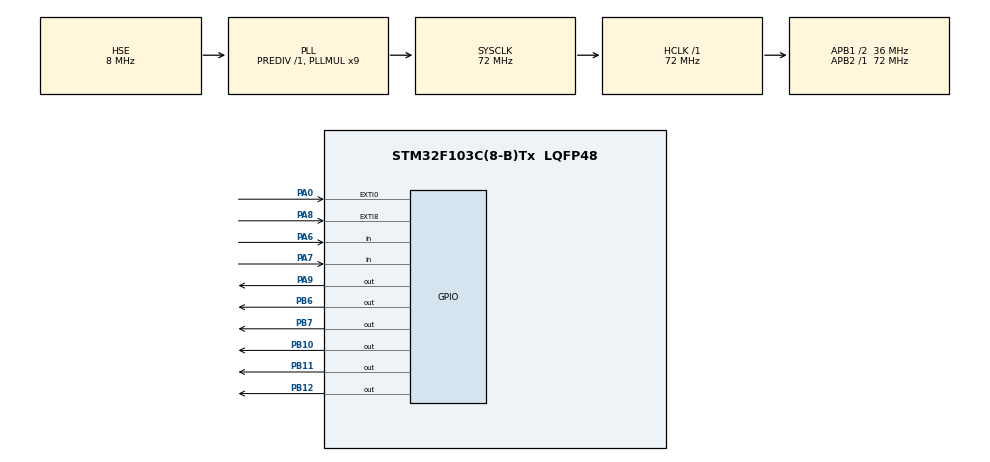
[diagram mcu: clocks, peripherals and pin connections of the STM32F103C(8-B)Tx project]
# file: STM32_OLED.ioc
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Mcu.Family=STM32F1
Mcu.Name=STM32F103C(8-B)Tx
Mcu.Package=LQFP48
NVIC.EXTI0_IRQn=true\:5\:0\:true\:false\:true\:true\:true\:true
NVIC.PriorityGroup=NVIC_PRIORITYGROUP_4
PA0-WKUP.GPIO_ModeDefaultEXTI=GPIO_MODE_IT_FALLING
PA0-WKUP.Signal=GPXTI0
PA13.Mode=Serial_Wire
PA13.Signal=SYS_JTMS-SWDIO
PA14.Mode=Serial_Wire
PA14.Signal=SYS_JTCK-SWCLK
PA6.Signal=GPIO_Input
PA7.Signal=GPIO_Input
PA8.GPIO_ModeDefaultEXTI=GPIO_MODE_IT_RISING
PA8.Signal=GPXTI8
PA9.Signal=GPIO_Output
PB10.Signal=GPIO_Output
PB11.Signal=GPIO_Output
PB12.Signal=GPIO_Output
PB6.Signal=GPIO_Output
PB7.Signal=GPIO_Output
PC14-OSC32_IN.Mode=LSE-External-Oscillator
PC14-OSC32_IN.Signal=RCC_OSC32_IN
PC15-OSC32_OUT.Mode=LSE-External-Oscillator
PC15-OSC32_OUT.Signal=RCC_OSC32_OUT
PD0-OSC_IN.Mode=HSE-External-Oscillator
PD0-OSC_IN.Signal=RCC_OSC_IN
PD1-OSC_OUT.Mode=HSE-External-Oscillator
PD1-OSC_OUT.Signal=RCC_OSC_OUT
ProjectManager.HeapSize=0x200
ProjectManager.StackSize=0x400
ProjectManager.TargetToolchain=MDK-ARM V5.32
RCC.AHBFreq_Value=72000000
RCC.APB1CLKDivider=RCC_HCLK_DIV2
RCC.APB1Freq_Value=36000000
RCC.APB1TimFreq_Value=72000000
RCC.APB2Freq_Value=72000000
RCC.APB2TimFreq_Value=72000000
RCC.HCLKFreq_Value=72000000
RCC.PLLMUL=RCC_PLL_MUL9
RCC.PLLSourceVirtual=RCC_PLLSOURCE_HSE
RCC.RTCClockSelection=RCC_RTCCLKSOURCE_LSE
RCC.SYSCLKFreq_VALUE=72000000
RCC.SYSCLKSource=RCC_SYSCLKSOURCE_PLLCLK
RCC.USBFreq_Value=72000000
RTC.Date=4
RTC.Hours=21
RTC.Minutes=40
RTC.Month=RTC_MONTH_JULY
RTC.WeekDay=RTC_WEEKDAY_TUESDAY
RTC.Year=23
VP_RTC_VS_RTC_Activate.Mode=RTC_Enabled
VP_RTC_VS_RTC_Calendar.Mode=RTC_Calendar
board=custom

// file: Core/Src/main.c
/* USER CODE BEGIN Header */
/**
  ******************************************************************************
  * @file           : main.c
  * @brief          : Main program body
  ******************************************************************************
  * @attention
  *
  * Copyright (c) 2023 STMicroelectronics.
  * All rights reserved.
  *
  * This software is licensed under terms that can be found in the LICENSE file
  * in the root directory of this software component.
  * If no LICENSE file comes with this software, it is provided AS-IS.
  *
  ******************************************************************************
  */
/* USER CODE END Header */
#include "main.h"
#include "rtc.h"
#include "gpio.h"

/* USER CODE BEGIN Includes */
#include "OLED.h"
#include "user_oled.h"
#include "tsl2561.h"
/* USER CODE END Includes */

void SystemClock_Config(void);
/* USER CODE BEGIN PFP */

int pa0,pa6,pa7,pa8;
/* USER CODE END PFP */

int main(void)
{

  /* MCU Configuration--------------------------------------------------------*/

  /* Reset of all peripherals, Initializes the Flash interface and the Systick. */
  HAL_Init();

  /* Configure the system clock */
  SystemClock_Config();

  /* USER CODE BEGIN SysInit */
	HAL_NVIC_SetPriority(SysTick_IRQn,0,0);
  /* USER CODE END SysInit */

  /* Initialize all configured peripherals */
  MX_GPIO_Init();
  MX_RTC_Init();
  /* USER CODE BEGIN 2 */
	TSL2561_Init(TIMING_402MS | TIMING_GAIN_16X);//此处的积分时间和增益倍数选择不同测出来的数值会有不同***
	OLED_Init();              //OLED初始化
//	TSL2561_Init();
	User_huizhang_Show();
	HAL_Delay(300);
	OLED_ClearPic();
	User_Home();
	HAL_Delay(500);
	User_Data_Show();
  /* USER CODE END 2 */

  /* Infinite loop */
  /* USER CODE BEGIN WHILE */
  while (1)
  {
		pa6=HAL_GPIO_ReadPin(GPIOA,GPIO_PIN_6);
		pa7=HAL_GPIO_ReadPin(GPIOA,GPIO_PIN_7);
		pa8=HAL_GPIO_ReadPin(GPIOA,GPIO_PIN_8);
		pa0=HAL_GPIO_ReadPin(GPIOA,GPIO_PIN_0);
    /* USER CODE END WHILE */

  }
}

void SystemClock_Config(void)
{
  RCC_OscInitTypeDef RCC_OscInitStruct = {0};
  RCC_ClkInitTypeDef RCC_ClkInitStruct = {0};
  RCC_PeriphCLKInitTypeDef PeriphClkInit = {0};

  /** Initializes the RCC Oscillators according to the specified parameters
  * in the RCC_OscInitTypeDef structure.
  */
  RCC_OscInitStruct.OscillatorType = RCC_OSCILLATORTYPE_HSE|RCC_OSCILLATORTYPE_LSE;
  RCC_OscInitStruct.HSEState = RCC_HSE_ON;
  RCC_OscInitStruct.HSEPredivValue = RCC_HSE_PREDIV_DIV1;
  RCC_OscInitStruct.LSEState = RCC_LSE_ON;
  RCC_OscInitStruct.HSIState = RCC_HSI_ON;
  RCC_OscInitStruct.PLL.PLLState = RCC_PLL_ON;
  RCC_OscInitStruct.PLL.PLLSource = RCC_PLLSOURCE_HSE;
  RCC_OscInitStruct.PLL.PLLMUL = RCC_PLL_MUL9;
  if (HAL_RCC_OscConfig(&RCC_OscInitStruct) != HAL_OK)
  {
    Error_Handler();
  }

  /** Initializes the CPU, AHB and APB buses clocks
  */
  RCC_ClkInitStruct.ClockType = RCC_CLOCKTYPE_HCLK|RCC_CLOCKTYPE_SYSCLK
                              |RCC_CLOCKTYPE_PCLK1|RCC_CLOCKTYPE_PCLK2;
  RCC_ClkInitStruct.SYSCLKSource = RCC_SYSCLKSOURCE_PLLCLK;
  RCC_ClkInitStruct.AHBCLKDivider = RCC_SYSCLK_DIV1;
  RCC_ClkInitStruct.APB1CLKDivider = RCC_HCLK_DIV2;
  RCC_ClkInitStruct.APB2CLKDivider = RCC_HCLK_DIV1;

  if (HAL_RCC_ClockConfig(&RCC_ClkInitStruct, FLASH_LATENCY_2) != HAL_OK)
  {
    Error_Handler();
  }
  PeriphClkInit.PeriphClockSelection = RCC_PERIPHCLK_RTC;
  PeriphClkInit.RTCClockSelection = RCC_RTCCLKSOURCE_LSE;
  if (HAL_RCCEx_PeriphCLKConfig(&PeriphClkInit) != HAL_OK)
  {
    Error_Handler();
  }
}

void Error_Handler(void)
{
  __disable_irq();
  while (1)
  {
  }
}
